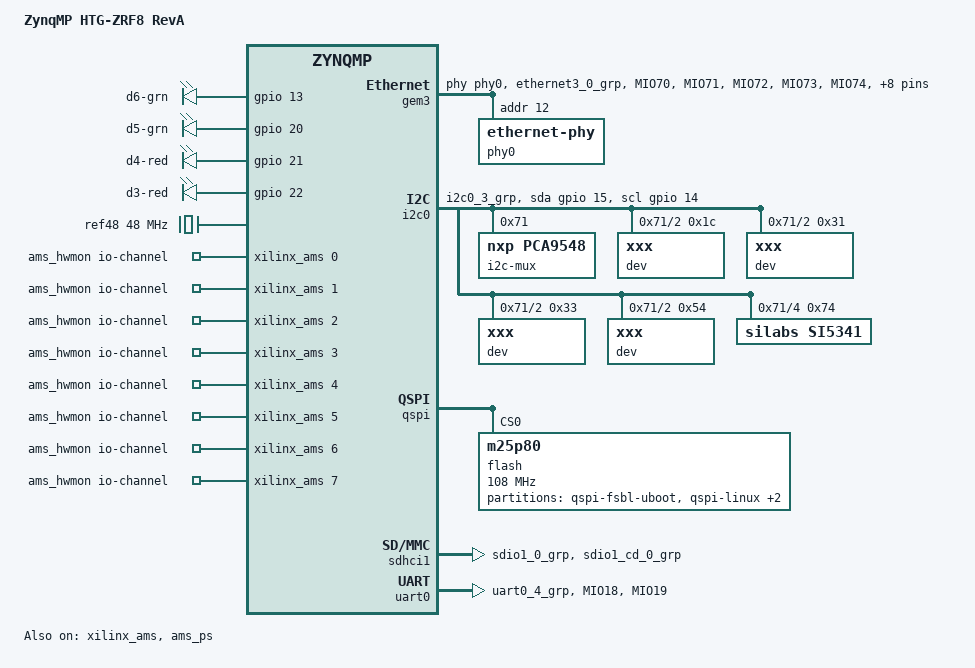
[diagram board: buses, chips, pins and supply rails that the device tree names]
// SPDX-License-Identifier: GPL-2.0+
/*
 * dts file for High-Tech Global ZRF8 Board
 *
 */

#include "include/dt-bindings/input/input.h"
#include "include/dt-bindings/gpio/gpio.h"
#include "include/dt-bindings/pinctrl/pinctrl-zynqmp.h"
#include "include/dt-bindings/phy/phy.h"

/ {
	model = "ZynqMP HTG-ZRF8 RevA";
	compatible = "xlnx,zynqmp-zcu111-revA", "xlnx,zynqmp-zcu111", "xlnx,zynqmp";

	leds {
		compatible = "gpio-leds";
		led-ds13 {
			label = "d6-grn";
			gpios = <&gpio 13 GPIO_ACTIVE_HIGH>;
			default-state = "off";
			linux,default-trigger = "oneshot";
		};

		led-ds20 {
			label = "d5-grn";
			gpios = <&gpio 20 GPIO_ACTIVE_HIGH>;
			default-state = "off";
			linux,default-trigger = "oneshot";
		};

		led-ds21 {
			label = "d4-red";
			gpios = <&gpio 21 GPIO_ACTIVE_HIGH>;
			default-state = "off";
			linux,default-trigger = "oneshot";
		};

		led-ds22 {
			label = "d3-red";
			gpios = <&gpio 22 GPIO_ACTIVE_HIGH>;
			default-state = "on";
			linux,default-trigger = "heartbeat";
		};
	};

	/* 48MHz reference crystal (ZQ2) connected to SI5341 clock generator */
	ref48: ref48M {
		compatible = "fixed-clock";
		#clock-cells = <0>;
		clock-frequency = <48000000>;
	};

    ams_hwmon {
        compatible = "iio-hwmon";
        io-channels = 
            /* VCC_PSPLL */ <&xilinx_ams 0>,
            /* VCC_PSBATT */ <&xilinx_ams 1>,
            /* VCCINT */ <&xilinx_ams 2>,
            /* VCCBRAM */ <&xilinx_ams 3>,
            /* VCCAUX */ <&xilinx_ams 4>,
            /* VCC_PSDDR_PLL */ <&xilinx_ams 5>,
            /* VCC_PSINTFP_DDR */ <&xilinx_ams 6>,
            /* Temp_LPD */ <&xilinx_ams 7>,
            /* Temp_FPD */ <&xilinx_ams 8>,
            /* VCC_PSINTLP */ <&xilinx_ams 9>,
            /* VCC_PSINTFP */ <&xilinx_ams 10>,
            /* VCC_PSAUX */ <&xilinx_ams 11>,
            /* skip VCC_PSINTFP_DDR */
            /* VCC_PSIO3 */ <&xilinx_ams 13>,
            /* VCC_PSIO0 */ <&xilinx_ams 14>,
            /* VCC_PSIO1 */ <&xilinx_ams 15>,
            /* VCC_PSIO2 */ <&xilinx_ams 16>,
            /* PS_MGTRAVCC */ <&xilinx_ams 17>,
            /* PS_MGTRAVTT */ <&xilinx_ams 18>,
            /* VCC_PSADC */ <&xilinx_ams 19>;
            /* skip entire PL block since we don't assume the PL is programmed */
    };

};

/* u21 - ethernet phy */
&gem3 {
	phy-handle = <&phy0>;
	pinctrl-names = "default";
	pinctrl-0 = <&pinctrl_gem3_default>;
	phy0: ethernet-phy@c {
		reg = <0xc>;
		ti,rx-internal-delay = <0x8>;
		ti,tx-internal-delay = <0xa>;
		ti,fifo-depth = <0x1>;
		ti,dp83867-rxctrl-strap-quirk;
	};
};

&gpio {
	pinctrl-names = "default";
	pinctrl-0 = <&pinctrl_gpio_default>;
};

&i2c0 {
	pinctrl-names = "default", "gpio";
	pinctrl-0 = <&pinctrl_i2c0_default>;
	pinctrl-1 = <&pinctrl_i2c0_gpio>;
	scl-gpios = <&gpio 14 GPIO_ACTIVE_HIGH>;
	sda-gpios = <&gpio 15 GPIO_ACTIVE_HIGH>;

	i2c-mux@71 { /* u51 */
		compatible = "nxp,pca9548";
		#address-cells = <1>;
		#size-cells = <0>;
		reg = <0x71>;
		i2c@0 {
			/* NC */
			#address-cells = <1>;
			#size-cells = <0>;
			reg = <0>;
		};
		i2c@1 {
			/* NC */
			#address-cells = <1>;
			#size-cells = <0>;
			reg = <1>;
		};
		i2c@2 {
			/* DDR4 SODIMM */
			#address-cells = <1>;
			#size-cells = <0>;
			reg = <2>;

			dev@1c { /* Temperature Sensor */
				compatible = "xxx";
				reg = <0x1c>;
			};
			dev@31 { /* set write protection */
				compatible = "xxx";
				reg = <0x31>;
			};
			dev@33 { /* clear write protection */
				compatible = "xxx";
				reg = <0x33>;
			};
			dev@54 { /* Serial Presence Detect (SPD) EEPROM */
				compatible = "xxx";
				reg = <0x54>;
			};
		};
		i2c@3 {
			/* VCXO - u69 */
			#address-cells = <1>;
			#size-cells = <0>;
			reg = <3>;
		};
		i2c@4 {
			#address-cells = <1>;
			#size-cells = <0>;
			reg = <4>;
			si5341: clock-generator@74 { /* SI5341 - U19 */
				compatible = "silabs,si5341";
				reg = <0x74>;
				#clock-cells = <2>;
				#address-cells = <1>;
				#size-cells = <0>;
				clocks = <&ref48>;
				clock-names = "xtal";
				clock-output-names = "si5341";

				/* pll-m-num and pll-m-den values come from ClockBuilderPro output and	*/
				/* are computed to minimize clock jitter for selected clock frequencies.*/
				/* For low-jitter performance, PLL output should be set such that the	*/
				/* synthesizers only need integer division to generate output rates.	*/
				/*   Values are output at registers 0x0235-0x023A (Numerator) and		*/
				/*   0x023B-0x023E (Demoninator)										*/
				silabs,pll-m-num = <0xd6d800>;
				silabs,pll-m-den = <0xc000>;

				si5341_0: out@0 {
					/* clk0 for PL-USER1 */
					reg = <0>;
					silabs,format = <1>;		/* Normal Differential output - 3.3V LVDS */
				};
				si5341_1: out@1 {
					/* clk1 for DDR4 SODIMM */
					reg = <1>;
					silabs,format = <1>;
				};
				si5341_2: out@2 {
					/* clk2 for FMC Mezzanine card */
					reg = <2>;
					silabs,format = <1>;
				};
				si5341_3: out@3 {
					/* clk3 for GTY 131 REF_CLK*/
					reg = <3>;
					silabs,format = <1>;
				};
				si5341_4: out@4 {
					/* clk4 for GTY 130 REF_CLK*/
					reg = <4>;
					silabs,format = <1>;
				};
				si5341_5: out@5 {
					/* clk5 for PL-USER2 */
					reg = <5>;
					silabs,format = <1>;
				};
				si5341_6: out@6 {
					/* clk6 for PS-GTR REF_CLK3, used for SATA?? */
					reg = <6>;
					silabs,format = <1>;
				};
				si5341_7: out@7 {
					/* clk7 for CLK_OUT SMA */
					reg = <7>;
					silabs,format = <1>;
				};
				si5341_8: out@8 {
					/* clk8 for PS-GTR REF_CLK2, used for USB3?? */
					reg = <8>;
					silabs,format = <1>;
				};
				si5341_9: out@9 {
					/* clk9 for PS-GTR REF_CLK2, used for DP?? */
					reg = <9>;
					silabs,format = <1>;
				};
			};
		};
		i2c@5 {
			/* NC */
			#address-cells = <1>;
			#size-cells = <0>;
			reg = <5>;
		};
		i2c@6 {
			/* NC */
			#address-cells = <1>;
			#size-cells = <0>;
			reg = <6>;
		};
		i2c@7 {
			/* FMC Mezzanine card */
			#address-cells = <1>;
			#size-cells = <0>;
			reg = <7>;
		};
	};
};

&pinctrl0 {
	status = "okay";
	pinctrl_i2c0_default: i2c0-default {
		mux {
			groups = "i2c0_3_grp";
			function = "i2c0";
		};

		conf {
			groups = "i2c0_3_grp";
			bias-pull-up;
			slew-rate = <SLEW_RATE_SLOW>;
			power-source = <IO_STANDARD_LVCMOS18>;
		};
	};

	pinctrl_i2c0_gpio: i2c0-gpio {
		mux {
			groups = "gpio0_14_grp", "gpio0_15_grp";
			function = "gpio0";
		};

		conf {
			groups = "gpio0_14_grp", "gpio0_15_grp";
			slew-rate = <SLEW_RATE_SLOW>;
			power-source = <IO_STANDARD_LVCMOS18>;
		};
	};

	pinctrl_uart0_default: uart0-default {
		mux {
			groups = "uart0_4_grp";
			function = "uart0";
		};

		conf {
			groups = "uart0_4_grp";
			slew-rate = <SLEW_RATE_SLOW>;
			power-source = <IO_STANDARD_LVCMOS18>;
		};

		conf-rx {
			pins = "MIO18";
			bias-high-impedance;
		};

		conf-tx {
			pins = "MIO19";
			bias-disable;
		};
	};

	pinctrl_usb0_default: usb0-default {
		mux {
			groups = "usb0_0_grp";
			function = "usb0";
		};

		conf {
			groups = "usb0_0_grp";
			slew-rate = <SLEW_RATE_SLOW>;
			power-source = <IO_STANDARD_LVCMOS18>;
		};

		conf-rx {
			pins = "MIO52", "MIO53", "MIO55";
			bias-high-impedance;
		};

		conf-tx {
			pins = "MIO54", "MIO56", "MIO57", "MIO58", "MIO59",
			       "MIO60", "MIO61", "MIO62", "MIO63";
			bias-disable;
		};
	};

	pinctrl_gem3_default: gem3-default {
		mux {
			function = "ethernet3";
			groups = "ethernet3_0_grp";
		};

		conf {
			groups = "ethernet3_0_grp";
			slew-rate = <SLEW_RATE_SLOW>;
			power-source = <IO_STANDARD_LVCMOS18>;
		};

		conf-rx {
			pins = "MIO70", "MIO71", "MIO72", "MIO73", "MIO74",
									"MIO75";
			bias-high-impedance;
			low-power-disable;
		};

		conf-tx {
			pins = "MIO64", "MIO65", "MIO66", "MIO67", "MIO68",
									"MIO69";
			bias-disable;
			low-power-enable;
		};

		mux-mdio {
			function = "mdio3";
			groups = "mdio3_0_grp";
		};

		conf-mdio {
			groups = "mdio3_0_grp";
			slew-rate = <SLEW_RATE_SLOW>;
			power-source = <IO_STANDARD_LVCMOS18>;
			bias-disable;
		};
	};

	pinctrl_sdhci1_default: sdhci1-default {
		mux {
			groups = "sdio1_0_grp";
			function = "sdio1";
		};

		conf {
			groups = "sdio1_0_grp";
			slew-rate = <SLEW_RATE_SLOW>;
			power-source = <IO_STANDARD_LVCMOS18>;
			bias-disable;
		};

		mux-cd {
			groups = "sdio1_cd_0_grp";
			function = "sdio1_cd";
		};

		conf-cd {
			groups = "sdio1_cd_0_grp";
			bias-high-impedance;
			bias-pull-up;
			slew-rate = <SLEW_RATE_SLOW>;
			power-source = <IO_STANDARD_LVCMOS18>;
		};

	};

	pinctrl_gpio_default: gpio-default {
		mux {
			function = "gpio0";
			groups = "gpio0_13_grp", "gpio0_20_grp", "gpio0_21_grp", "gpio0_22_grp";
		};

		conf {
			groups = "gpio0_13_grp", "gpio0_20_grp", "gpio0_21_grp", "gpio0_22_grp";
			slew-rate = <SLEW_RATE_SLOW>;
			power-source = <IO_STANDARD_LVCMOS18>;
		};

		conf-pull-none {
			pins = "MIO13", "MIO20", "MIO21", "MIO22";
			bias-disable;
		};
	};
};

&qspi {
	is-dual = <1>;
	flash@0 {
		compatible = "m25p80", "jedec,spi-nor"; /* 32MB */
		#address-cells = <1>;
		#size-cells = <1>;
		reg = <0x0>;
		spi-tx-bus-width = <1>;
		spi-rx-bus-width = <4>; /* FIXME also DUAL configuration possible */
		spi-max-frequency = <108000000>; /* Based on DC1 spec */
		partition@0 { /* for testing purpose */
			label = "qspi-fsbl-uboot";
			reg = <0x0 0x100000>;
		};
		partition@100000 { /* for testing purpose */
			label = "qspi-linux";
			reg = <0x100000 0x500000>;
		};
		partition@600000 { /* for testing purpose */
			label = "qspi-device-tree";
			reg = <0x600000 0x20000>;
		};
		partition@620000 { /* for testing purpose */
			label = "qspi-rootfs";
			reg = <0x620000 0x5E0000>;
		};
	};
};

/*&psgtr {
	/* nc, dp, usb3, sata */
/*	clocks = <&si5341 0 9>, <&si5341 0 8>, <&si5341 0 6>;
	clock-names = "ref1", "ref2", "ref3";
};*/

/* SD1 with level shifter */
&sdhci1 {
	pinctrl-names = "default";
	pinctrl-0 = <&pinctrl_sdhci1_default>;
	disable-wp;
	xlnx,mio-bank = <1>;
	/*
	 * This property should be removed for supporting UHS mode
	 */
	no-1-8-v;
};

&uart0 {
	pinctrl-names = "default";
	pinctrl-0 = <&pinctrl_uart0_default>;
};

/*&sata {
	/* SATA OOB timing settings */
/*	ceva,p0-cominit-params = /bits/ 8 <0x18 0x40 0x18 0x28>;
	ceva,p0-comwake-params = /bits/ 8 <0x06 0x14 0x08 0x0E>;
	ceva,p0-burst-params = /bits/ 8 <0x13 0x08 0x4A 0x06>;
	ceva,p0-retry-params = /bits/ 16 <0x96A4 0x3FFC>;
	ceva,p1-cominit-params = /bits/ 8 <0x18 0x40 0x18 0x28>;
	ceva,p1-comwake-params = /bits/ 8 <0x06 0x14 0x08 0x0E>;
	ceva,p1-burst-params = /bits/ 8 <0x13 0x08 0x4A 0x06>;
	ceva,p1-retry-params = /bits/ 16 <0x96A4 0x3FFC>;
	phy-names = "sata-phy";
	phys = <&psgtr 3 PHY_TYPE_SATA 1 3>;     /* need to fix this for ZRF8 board??? */
/*};*/


/* Enable system monitoring */
&xilinx_ams {
    status = "okay";
};

&ams_ps {
    status = "okay";
};
